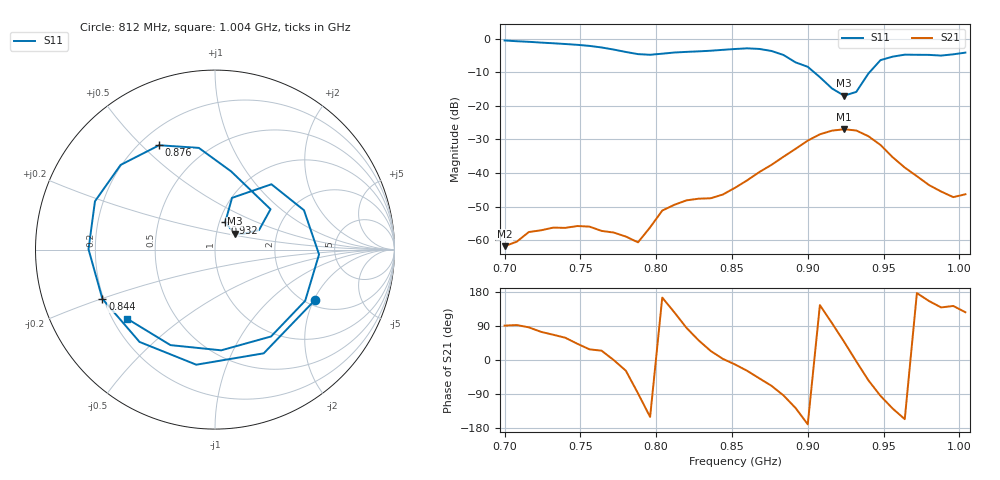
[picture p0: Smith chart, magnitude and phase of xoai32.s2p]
# Hz S RI R 50
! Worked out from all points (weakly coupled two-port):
!   39 points, 700 MHz to 1.004 GHz, reference 50 ohm
!   highest |S21| = -26.96 dB at 924 MHz (marker M1); lowest = -61.8 dB at 700 MHz (marker M2)
!   lowest |S11| = -17.0 dB at 924 MHz (marker M3), VSWR 1.33, Z = 61.4 + j11.1 ohm
!   |S11| at or under -10 dB: 904.3 MHz to 940.7 MHz (36.43 MHz wide, 3.95 % of centre)
!   S12 and S22 are empty: the file has one direction only
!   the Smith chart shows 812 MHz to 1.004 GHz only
!   S11 on the Smith chart (normalised r, x): 812 MHz: 2.24, -2.05; 844 MHz: 0.19, -0.20; 876 MHz: 0.27, +0.57; 932 MHz: 1.07, +0.33; 1.004 GHz: 0.26, -0.33
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7e8  0.7622 0.5582  -1.08e-05 0.000813  0 0  0 0
7.24e8  0.8418 -0.2496  0.000378 0.00135  0 0  0 0
7.4e8  0.4585 -0.6997  0.00079 0.0013  0 0  0 0
7.56e8  -0.1917 -0.76  0.0014 0.000749  0 0  0 0
7.72e8  -0.6618 -0.1993  0.0013 -4.1e-06  0 0  0 0
7.8e8  -0.5946 0.2271  0.000996 -0.000536  0 0  0 0
7.88e8  -0.2492 0.5362  3.4e-05 -0.000927  0 0  0 0
7.96e8  0.2396 0.5262  -0.00135 -0.000768  0 0  0 0
8.04e8  0.573 0.1777  -0.00266 0.000726  0 0  0 0
8.12e8  0.559 -0.279  -0.00196 0.00273  0 0  0 0
8.28e8  -0.1042 -0.6413  0.00256 0.00326  0 0  0 0
8.44e8  -0.6276 -0.2738  0.00478 0.000248  0 0  0 0
8.52e8  -0.7047 0.00193  0.0059 -0.00122  0 0  0 0
8.76e8  -0.3111 0.5814  0.00497 -0.0122  0 0  0 0
9e8  0.3095 0.2249  -0.0299 -0.00541  0 0  0 0
9.08e8  0.2451 0.1087  -0.0308 0.0218  0 0  0 0
9.24e8  0.1108 0.0887  0.0301 0.0333  0 0  0 0
9.32e8  0.0567 0.1515  0.0429 -0.00267  0 0  0 0
9.48e8  0.3143 0.364  -0.00215 -0.0261  0 0  0 0
9.56e8  0.4958 0.2194  -0.0106 -0.0136  0 0  0 0
9.8e8  0.3122 -0.484  -0.00603 0.00274  0 0  0 0
1.004e9  -0.4889 -0.3855  -0.00284 0.0039  0 0  0 0
